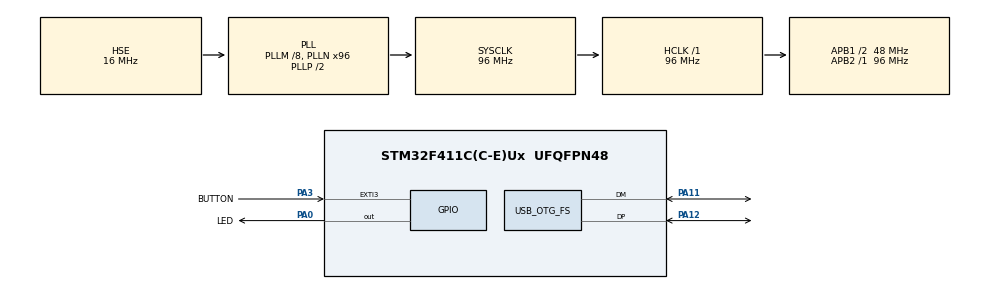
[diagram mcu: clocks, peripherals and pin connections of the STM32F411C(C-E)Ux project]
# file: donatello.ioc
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FREERTOS.Tasks01=defaultTask,2,128,StartDefaultTask,Default,NULL,Dynamic,NULL,NULL;cliTask,-2,2056,StartCLITask,Default,NULL,Dynamic,NULL,NULL
FREERTOS.configENABLE_FPU=1
Mcu.Family=STM32F4
Mcu.Name=STM32F411C(C-E)Ux
Mcu.Package=UFQFPN48
NVIC.EXTI3_IRQn=true\:5\:0\:false\:false\:true\:false\:true\:true\:true
NVIC.OTG_FS_IRQn=true\:5\:0\:false\:false\:true\:true\:false\:true\:true
NVIC.PriorityGroup=NVIC_PRIORITYGROUP_4
PA0-WKUP.GPIO_Label=LED
PA0-WKUP.GPIO_Speed=GPIO_SPEED_FREQ_LOW
PA0-WKUP.Signal=GPIO_Output
PA11.Mode=Device_Only
PA11.Signal=USB_OTG_FS_DM
PA12.Mode=Device_Only
PA12.Signal=USB_OTG_FS_DP
PA13.Mode=Serial_Wire
PA13.Signal=SYS_JTMS-SWDIO
PA14.Mode=Serial_Wire
PA14.Signal=SYS_JTCK-SWCLK
PA3.GPIO_Label=BUTTON
PA3.GPIO_ModeDefaultEXTI=GPIO_MODE_IT_FALLING
PA3.GPIO_PuPd=GPIO_PULLUP
PA3.Signal=GPXTI3
PH0\ -\ OSC_IN.Mode=HSE-External-Oscillator
PH0\ -\ OSC_IN.Signal=RCC_OSC_IN
PH1\ -\ OSC_OUT.Mode=HSE-External-Oscillator
PH1\ -\ OSC_OUT.Signal=RCC_OSC_OUT
ProjectManager.HeapSize=0x600
ProjectManager.StackSize=0x800
ProjectManager.TargetToolchain=STM32CubeIDE
RCC.48MHZClocksFreq_Value=48000000
RCC.AHBFreq_Value=96000000
RCC.APB1CLKDivider=RCC_HCLK_DIV2
RCC.APB1Freq_Value=48000000
RCC.APB1TimFreq_Value=96000000
RCC.APB2Freq_Value=96000000
RCC.APB2TimFreq_Value=96000000
RCC.CortexFreq_Value=96000000
RCC.EnbaleCSS=true
RCC.HCLKFreq_Value=96000000
RCC.HSE_VALUE=16000000
RCC.HSI_VALUE=16000000
RCC.LSE_VALUE=32768
RCC.PLLM=8
RCC.PLLN=96
RCC.SYSCLKFreq_VALUE=96000000
RCC.SYSCLKSource=RCC_SYSCLKSOURCE_PLLCLK
RCC.VCOOutputFreq_Value=192000000
USB_DEVICE.CLASS_NAME_FS=CDC
USB_DEVICE.VirtualMode=Cdc
USB_DEVICE.VirtualModeFS=Cdc_FS
USB_OTG_FS.VirtualMode=Device_Only
VP_FREERTOS_VS_CMSIS_V1.Mode=CMSIS_V1
VP_USB_DEVICE_VS_USB_DEVICE_CDC_FS.Mode=CDC_FS
board=custom

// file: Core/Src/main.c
/* USER CODE BEGIN Header */
/**
 ******************************************************************************
 * @file           : main.c
 * @brief          : Main program body
 ******************************************************************************
 * @attention
 *
 * Copyright (c) 2023 STMicroelectronics.
 * All rights reserved.
 *
 * This software is licensed under terms that can be found in the LICENSE file
 * in the root directory of this software component.
 * If no LICENSE file comes with this software, it is provided AS-IS.
 *
 ******************************************************************************
 */
/* USER CODE END Header */
#include "main.h"
#include "cmsis_os.h"
#include "usb_device.h"
#include "gpio.h"

void SystemClock_Config(void);
void MX_FREERTOS_Init(void);

int main(void)
{

  /* MCU Configuration--------------------------------------------------------*/

  /* Reset of all peripherals, Initializes the Flash interface and the Systick. */
  HAL_Init();

  /* Configure the system clock */
  SystemClock_Config();

  /* Initialize all configured peripherals */
  MX_GPIO_Init();

  /* Call init function for freertos objects (in freertos.c) */
  MX_FREERTOS_Init();

  /* Start scheduler */
  osKernelStart();

  /* We should never get here as control is now taken by the scheduler */
  /* Infinite loop */
    while (1){

    }
}

void SystemClock_Config(void)
{
  RCC_OscInitTypeDef RCC_OscInitStruct = {0};
  RCC_ClkInitTypeDef RCC_ClkInitStruct = {0};

  /** Configure the main internal regulator output voltage
  */
  __HAL_RCC_PWR_CLK_ENABLE();
  __HAL_PWR_VOLTAGESCALING_CONFIG(PWR_REGULATOR_VOLTAGE_SCALE1);

  /** Initializes the RCC Oscillators according to the specified parameters
  * in the RCC_OscInitTypeDef structure.
  */
  RCC_OscInitStruct.OscillatorType = RCC_OSCILLATORTYPE_HSE;
  RCC_OscInitStruct.HSEState = RCC_HSE_ON;
  RCC_OscInitStruct.PLL.PLLState = RCC_PLL_ON;
  RCC_OscInitStruct.PLL.PLLSource = RCC_PLLSOURCE_HSE;
  RCC_OscInitStruct.PLL.PLLM = 8;
  RCC_OscInitStruct.PLL.PLLN = 96;
  RCC_OscInitStruct.PLL.PLLP = RCC_PLLP_DIV2;
  RCC_OscInitStruct.PLL.PLLQ = 4;
  if (HAL_RCC_OscConfig(&RCC_OscInitStruct) != HAL_OK)
  {
    Error_Handler();
  }

  /** Initializes the CPU, AHB and APB buses clocks
  */
  RCC_ClkInitStruct.ClockType = RCC_CLOCKTYPE_HCLK|RCC_CLOCKTYPE_SYSCLK
                              |RCC_CLOCKTYPE_PCLK1|RCC_CLOCKTYPE_PCLK2;
  RCC_ClkInitStruct.SYSCLKSource = RCC_SYSCLKSOURCE_PLLCLK;
  RCC_ClkInitStruct.AHBCLKDivider = RCC_SYSCLK_DIV1;
  RCC_ClkInitStruct.APB1CLKDivider = RCC_HCLK_DIV2;
  RCC_ClkInitStruct.APB2CLKDivider = RCC_HCLK_DIV1;

  if (HAL_RCC_ClockConfig(&RCC_ClkInitStruct, FLASH_LATENCY_3) != HAL_OK)
  {
    Error_Handler();
  }

  /** Enables the Clock Security System
  */
  HAL_RCC_EnableCSS();
}

void Error_Handler(void)
{
  /* USER CODE BEGIN Error_Handler_Debug */
    /* User can add his own implementation to report the HAL error return state */
    __disable_irq();
    printf("[ERROR] Hard error\r\n");
    while (1)
    {
    }
  /* USER CODE END Error_Handler_Debug */
}

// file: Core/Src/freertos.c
/* USER CODE BEGIN Header */
/**
 ******************************************************************************
 * File Name          : freertos.c
 * Description        : Code for freertos applications
 ******************************************************************************
 * @attention
 *
 * Copyright (c) 2023 STMicroelectronics.
 * All rights reserved.
 *
 * This software is licensed under terms that can be found in the LICENSE file
 * in the root directory of this software component.
 * If no LICENSE file comes with this software, it is provided AS-IS.
 *
 ******************************************************************************
 */
/* USER CODE END Header */

#include "FreeRTOS.h"
#include "task.h"
#include "main.h"
#include "cmsis_os.h"

/* USER CODE BEGIN Includes */
#include <string.h>
#include <stdio.h>
#include <math.h>
#include <stdbool.h>
#include "usbd_cdc_if.h"
#include "cli.h"
/* USER CODE END Includes */

/* USER CODE BEGIN PD */
#define TX_SIZE 50
#define RX_SIZE 50
/* USER CODE END PD */

/* USER CODE BEGIN Variables */
uint8_t buffer_tx[TX_SIZE] = "Hello world!\r\n";
uint8_t buffer_rx[RX_SIZE] = {0};

float k = 0;
float x = 0;
float y = 0;
bool button = false;

/* USER CODE END Variables */
osThreadId defaultTaskHandle;
osThreadId loggingTaskHandle;

void StartDefaultTask(void const * argument);
void StartLoggigTask(void const * argument);

extern void MX_USB_DEVICE_Init(void);
void MX_FREERTOS_Init(void); /* (MISRA C 2004 rule 8.1) */

/* GetIdleTaskMemory prototype (linked to static allocation support) */
void vApplicationGetIdleTaskMemory( StaticTask_t **ppxIdleTaskTCBBuffer, StackType_t **ppxIdleTaskStackBuffer, uint32_t *pulIdleTaskStackSize );

/* USER CODE BEGIN GET_IDLE_TASK_MEMORY */
static StaticTask_t xIdleTaskTCBBuffer;
static StackType_t xIdleStack[configMINIMAL_STACK_SIZE];

void vApplicationGetIdleTaskMemory( StaticTask_t **ppxIdleTaskTCBBuffer, StackType_t **ppxIdleTaskStackBuffer, uint32_t *pulIdleTaskStackSize )
{
	*ppxIdleTaskTCBBuffer = &xIdleTaskTCBBuffer;
	*ppxIdleTaskStackBuffer = &xIdleStack[0];
	*pulIdleTaskStackSize = configMINIMAL_STACK_SIZE;
	/* place for user code */
}
/* USER CODE END GET_IDLE_TASK_MEMORY */

void MX_FREERTOS_Init(void) {

	/* Create the thread(s) */
	/* definition and creation of defaultTask */
	osThreadDef(defaultTask, StartDefaultTask, osPriorityHigh, 0, 128);
	defaultTaskHandle = osThreadCreate(osThread(defaultTask), NULL);

	/* definition and creation of loggingTask */
	osThreadDef(loggingTask, StartLoggigTask, osPriorityLow, 0, 2056);
	loggingTaskHandle = osThreadCreate(osThread(loggingTask), NULL);

}

void StartDefaultTask(void const * argument)
{
	/* init code for USB_DEVICE */
	MX_USB_DEVICE_Init();
	/* USER CODE BEGIN StartDefaultTask */
	/* Infinite loop */
	for(;;)
	{
//		HAL_GPIO_TogglePin(LED_GPIO_Port, LED_Pin);
		k += 0.1;
		x = 10*cos(k);
		y = 10*sin(k);
		osDelay(50);
	}
	/* USER CODE END StartDefaultTask */
}

void StartLoggigTask(void const * argument)
{
	/* USER CODE BEGIN StartLoggigTask */
	cli_init();
	/* Infinite loop */
	for(;;)
	{
//		printf("/*%.3f,%.3f,%d*/\r\n", x, y, button);
		HAL_GPIO_TogglePin(LED_GPIO_Port, LED_Pin);
//		cli_printf("LED with args: %s and %s", "Isak", "Janina");
		cli_process();
		osDelay(100);

	}
	/* USER CODE END StartLoggigTask */
}

/* USER CODE BEGIN Application */
void HAL_GPIO_EXTI_Callback(uint16_t GPIO_Pin){
    button = !button;
}

//int _write(int file, uint8_t *ptr, int len) {
//    static uint8_t rc = USBD_OK;
//
//    do {
//        rc = CDC_Transmit_FS(ptr, len);
//    } while (USBD_BUSY == rc);
//
//    if (USBD_FAIL == rc) {
//        /// NOTE: Should never reach here.
//        /// TODO: Handle this error.
//        return 0;
//    }
//    return len;
//}
/* USER CODE END Application */
